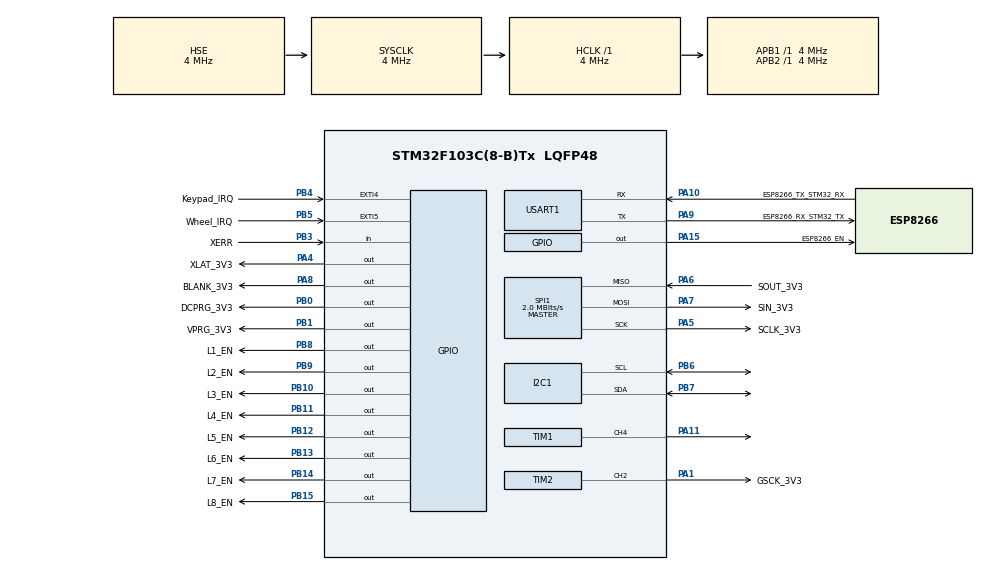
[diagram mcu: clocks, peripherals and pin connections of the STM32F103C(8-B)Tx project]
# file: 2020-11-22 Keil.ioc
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Mcu.Family=STM32F1
PA6.Mode=Full_Duplex_Master
SH.S_TIM1_CH4.0=TIM1_CH4,PWM Generation4 CH4
SPI1.VirtualType=VM_MASTER
PB4.GPIO_ModeDefaultEXTI=GPIO_MODE_IT_FALLING
PB14.GPIO_Label=L7_EN
VP_RTC_VS_RTC_Activate.Mode=RTC_Enabled
PA6.GPIO_Label=SOUT_3V3
PB0.GPIO_Label=DCPRG_3V3
TIM2.Pulse-Output\ Compare2\ CH2=1
NVIC.TIM1_UP_IRQn=true\:0\:0\:true\:false\:true\:true\:true
PB13.GPIO_Label=L6_EN
PB11.Signal=GPIO_Output
PB13.Signal=GPIO_Output
PB15.Signal=GPIO_Output
RCC.SYSCLKSource=RCC_SYSCLKSOURCE_HSE
ProjectManager.StackSize=0x800
PD1-OSC_OUT.Signal=RCC_OSC_OUT
PA15.GPIO_Label=ESP8266_EN
TIM1.Channel-PWM\ Generation4\ CH4=TIM_CHANNEL_4
SPI1.Direction=SPI_DIRECTION_2LINES
RCC.HCLKFreq_Value=4000000
RCC.APB2TimFreq_Value=4000000
PB6.Signal=I2C1_SCL
PB6.Mode=I2C
SPI1.CalculateBaudRate=2.0 MBits/s
RCC.AHBFreq_Value=4000000
RCC.HSE_VALUE=4000000
PB12.GPIO_Label=L5_EN
PB3.GPIO_PuPd=GPIO_PULLUP
PA14.Mode=Serial_Wire
PB1.GPIO_Label=VPRG_3V3
PA10.GPIO_Label=ESP8266_TX_STM32_RX
PB7.Signal=I2C1_SDA
PA8.Signal=GPIO_Output
Mcu.Package=LQFP48
PB9.Signal=GPIO_Output
TIM2.Channel-Output\ Compare2\ CH2=TIM_CHANNEL_2
TIM2.OCMode_2=TIM_OCMODE_TOGGLE
PB1.Signal=GPIO_Output
PA6.Signal=SPI1_MISO
PA10.Signal=USART1_RX
PA15.Signal=GPIO_Output
PB5.GPIO_Label=Wheel_IRQ
RCC.APB1TimFreq_Value=4000000
TIM1.Period=16383
SPI1.BaudRatePrescaler=SPI_BAUDRATEPRESCALER_2
PA4.GPIO_Label=XLAT_3V3
PB4.Signal=GPXTI4
PA5.Mode=Full_Duplex_Master
PB3.GPIO_Label=XERR
PB5.GPIO_ModeDefaultEXTI=GPIO_MODE_IT_FALLING
RCC.PLLSourceVirtual=RCC_PLLSOURCE_HSE
NVIC.EXTI4_IRQn=true\:2\:0\:true\:false\:true\:true\:true
PA7.Mode=Full_Duplex_Master
PD1-OSC_OUT.Mode=HSE-External-Oscillator
PB9.GPIO_Label=L2_EN
PA10.Mode=Asynchronous
PA9.GPIO_Label=ESP8266_RX_STM32_TX
PB11.GPIO_Label=L4_EN
PD0-OSC_IN.Signal=RCC_OSC_IN
PA13.Signal=SYS_JTMS-SWDIO
PB8.GPIO_Label=L1_EN
SH.S_TIM2_CH2.0=TIM2_CH2,Output Compare2 CH2
PA9.Mode=Asynchronous
PA8.GPIO_Label=BLANK_3V3
ProjectManager.TargetToolchain=MDK-ARM V5.27
PB10.GPIO_Label=L3_EN
PA9.Signal=USART1_TX
RCC.USBFreq_Value=8000000
PA1.Signal=S_TIM2_CH2
PB10.Signal=GPIO_Output
PD0-OSC_IN.Mode=HSE-External-Oscillator
PB14.Signal=GPIO_Output
PA5.Signal=SPI1_SCK
board=custom
TIM1.TIM_MasterOutputTrigger=TIM_TRGO_UPDATE
RCC.APB2Freq_Value=4000000
PB4.GPIO_Label=Keypad_IRQ
PB15.GPIO_Label=L8_EN
SPI1.Mode=SPI_MODE_MASTER
PA1.GPIO_Label=GSCK_3V3
TIM2.Period=1
PA13.Mode=Serial_Wire
Mcu.Name=STM32F103C(8-B)Tx
PB3.Signal=GPIO_Input
PA4.Signal=GPIO_Output
RCC.SYSCLKFreq_VALUE=4000000
PB5.Signal=GPXTI5
PA7.GPIO_Label=SIN_3V3
PA5.GPIO_Label=SCLK_3V3
USART1.VirtualMode=VM_ASYNC
PB7.Mode=I2C
PA11.Signal=S_TIM1_CH4
NVIC.EXTI9_5_IRQn=true\:2\:0\:true\:false\:true\:true\:true
PA14.Signal=SYS_JTCK-SWCLK
ProjectManager.HeapSize=0x400
NVIC.PriorityGroup=NVIC_PRIORITYGROUP_4
PB8.Signal=GPIO_Output
RCC.APB1Freq_Value=4000000
PB0.Signal=GPIO_Output
PB12.Signal=GPIO_Output
PA7.Signal=SPI1_MOSI

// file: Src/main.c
/* USER CODE BEGIN Header */
/**
  ******************************************************************************
  * @file           : main.c
  * @brief          : Main program body
  ******************************************************************************
  * @attention
  *
  * <h2><center>&copy; Copyright (c) 2020 STMicroelectronics.
  * All rights reserved.</center></h2>
  *
  * This software component is licensed by ST under BSD 3-Clause license,
  * the "License"; You may not use this file except in compliance with the
  * License. You may obtain a copy of the License at:
  *                        opensource.org/licenses/BSD-3-Clause
  *
  ******************************************************************************
  */
/* USER CODE END Header */

#include "main.h"

I2C_HandleTypeDef hi2c1;

RTC_HandleTypeDef hrtc;

SPI_HandleTypeDef hspi1;

TIM_HandleTypeDef htim1;
TIM_HandleTypeDef htim2;

UART_HandleTypeDef huart1;

void SystemClock_Config(void);
static void MX_GPIO_Init(void);
static void MX_I2C1_Init(void);
static void MX_RTC_Init(void);
static void MX_SPI1_Init(void);
static void MX_TIM1_Init(void);
static void MX_TIM2_Init(void);
static void MX_USART1_UART_Init(void);
/* USER CODE BEGIN PFP */

void previous_lyr_off(uint16_t activeLyr);
uint16_t current_lyr_on(uint16_t activeLyr);

/* USER CODE END PFP */

/* USER CODE BEGIN 0 */

bool UPDATE_FRAME = 0;

Frame_TypeDef frame0;

//lyr global variable indicates active cube layer.
//Needs to be global so timer IRQ can access value
uint8_t activeLyr = 0;

//Data Arrays & Pointers shese should probably not be global
// Data Arrays
uint16_t data16[16*NUM_TLCS];
uint8_t data8[24*NUM_TLCS];

// Data Pointers
uint16_t *data16Ptr = &data16[0];
uint8_t *data8Ptr = &data8[0];

/*
bool *mask0Ptr = &mask0[0];
bool *mask1Ptr = &mask1[0];
bool *mask2Ptr = &mask2[0];
bool *mask3Ptr = &mask3[0];
bool *mask4Ptr = &mask4[0];
bool *mask5Ptr = &mask5[0];
bool *mask6Ptr = &mask6[0];
bool *mask7Ptr = &mask7[0];
*/

// pin mapping - this should never need to be reconfigured now that all the cabling as been eliminated :^)
int redMap[64] = {178,181,160,163,166,145,148,151,189,186,175,172,169,158,155,152,130,133,112,115,118,97,100,103,141,138,127,124,121,110,107,104,82,85,64,67,70,49,52,55,93,90,79,76,73,62,59,56,34,37,16,19,22,1,4,7,45,42,31,28,25,14,11,8};
int grnMap[64] = {177,180,183,162,165,144,147,150,190,187,184,173,170,159,156,153,129,132,135,114,117,96,99,102,142,139,136,125,122,111,108,105,81,84,87,66,69,48,51,54,94,91,88,77,74,63,60,57,33,36,39,18,21,0,3,6,46,43,40,29,26,15,12,9};
int bluMap[64] = {176,179,182,161,164,167,146,149,191,188,185,174,171,168,157,154,128,131,134,113,116,119,98,101,143,140,137,126,123,120,109,106,80,83,86,65,68,71,50,53,95,92,89,78,75,72,61,58,32,35,38,17,20,23,2,5,47,44,41,30,27,24,13,10};

uint16_t currentAction = ACTION_NOP;

/* USER CODE END 0 */

int main(void)
{

  /* MCU Configuration--------------------------------------------------------*/

  /* Reset of all peripherals, Initializes the Flash interface and the Systick. */
  HAL_Init();

  /* Configure the system clock */
  SystemClock_Config();

  /* Initialize all configured peripherals */
  MX_GPIO_Init();
  MX_I2C1_Init();
  MX_RTC_Init();
  MX_SPI1_Init();
  MX_TIM1_Init();
  MX_TIM2_Init();
  MX_USART1_UART_Init();
  /* USER CODE BEGIN 2 */

	//I can't decide if I want to pass a generic menu into init function like the last 3 or not. Each init function is so specific..
	MainMenuInit();
	AnimationMenu = AnimationMenuInit(AnimationMenu);
	PinMappingMenu = PinMappingMenuInit(PinMappingMenu);
	ActiveAnimationMenu = ActiveAnimationMenuInit(ActiveAnimationMenu);

	//have to manually set these pointers
	frame0.lyr0.redArrPtr = &frame0.lyr0.redArray[0];
	frame0.lyr0.grnArrPtr = &frame0.lyr0.grnArray[0];
	frame0.lyr0.bluArrPtr = &frame0.lyr0.bluArray[0];

	// This pin referencing is slightly redundant. L8 needs to be set since it's toggled during timXocstart (158)
	HAL_GPIO_WritePin(L8_EN_GPIO_Port, L8_EN_Pin, GPIO_PIN_RESET);
	HAL_GPIO_WritePin(L7_EN_GPIO_Port, L7_EN_Pin, GPIO_PIN_RESET);
	HAL_GPIO_WritePin(L6_EN_GPIO_Port, L6_EN_Pin, GPIO_PIN_RESET);
	HAL_GPIO_WritePin(L5_EN_GPIO_Port, L5_EN_Pin, GPIO_PIN_RESET);
	HAL_GPIO_WritePin(L4_EN_GPIO_Port, L4_EN_Pin, GPIO_PIN_RESET);
	HAL_GPIO_WritePin(L3_EN_GPIO_Port, L3_EN_Pin, GPIO_PIN_RESET);
	HAL_GPIO_WritePin(L2_EN_GPIO_Port, L2_EN_Pin, GPIO_PIN_RESET);
	HAL_GPIO_WritePin(L1_EN_GPIO_Port, L1_EN_Pin, GPIO_PIN_RESET);

	HAL_TIM_OC_Start(&htim2, TIM_CHANNEL_2);	//
	HAL_TIM_Base_Start_IT(&htim1);
	HAL_TIM_OC_Start(&htim1, TIM_CHANNEL_4);	//this was working with ch1 even though thats set as a gpio!

	lcd20x4_i2c_init(&hi2c1); // I don't know why this needs to be called in main and not inside MenuSystemInit()

	HAL_GPIO_WritePin(L8_EN_GPIO_Port, L8_EN_Pin, GPIO_PIN_SET);
	HAL_SPI_Init(&hspi1);

	tlc_clear(data16Ptr);
	UPDATE_FRAME = 1;
	MenuSystemInit(hi2c1);
	MenuDisplayUpdate(MainMenu);
  /* USER CODE END 2 */

  /* Infinite loop */
  /* USER CODE BEGIN WHILE */
  while (1)
  {

		while(currentAction == ACTION_NOP)
		{
			HAL_Delay(1);
		}

		if(currentAction == ACTION_HALT_ANIMATION)
		{
			HAL_Delay(1);
		}

		if(currentAction == ACTION_PLAY_ANIMATION_7)
		{
			//MenuSetRowText(ActiveAnimationMenu.ArrayPtr, 0, " Configurable Text");
			//MenuDisplayUpdate(ActiveAnimationMenu);
			configurable_text(frame0);
			currentAction = ACTION_NOP;
		}

		if(currentAction == ACTION_PLAY_ANIMATION_6)
		{
			//MenuSetRowText(ActiveAnimationMenu.ArrayPtr, 0, " Stretchy Cube");
			//MenuDisplayUpdate(ActiveAnimationMenu);
			stretchy_cube(frame0);
			currentAction = ACTION_NOP;
		}

		if(currentAction == ACTION_PLAY_ANIMATION_5)
		{
			//MenuSetRowText(ActiveAnimationMenu.ArrayPtr, 0, " Sliding Cubes");
			//MenuDisplayUpdate(ActiveAnimationMenu);
			//sliding_cubes(frame0);
			currentAction = ACTION_NOP;
		}

		if(currentAction == ACTION_PLAY_ANIMATION_4)
		{
			//MenuSetRowText(ActiveAnimationMenu.ArrayPtr, 0, " Strobe");
			//MenuDisplayUpdate(ActiveAnimationMenu);
			strobe(frame0);
			currentAction = ACTION_NOP;
		}

		if(currentAction == ACTION_PLAY_ANIMATION_3)
		{
			//MenuSetRowText(ActiveAnimationMenu.ArrayPtr, 0, " Original Fade");
			//MenuDisplayUpdate(ActiveAnimationMenu);
			original_fade(frame0);
			currentAction = ACTION_NOP;
		}

		if(currentAction == ACTION_PLAY_ANIMATION_2)
		{
			//MenuSetRowText(ActiveAnimationMenu.ArrayPtr, 0, " Halloween");
			//MenuDisplayUpdate(ActiveAnimationMenu);
			halloween(frame0);
			currentAction = ACTION_NOP;
		}

		if(currentAction == ACTION_PLAY_ANIMATION_1)
		{
			//MenuSetRowText(ActiveAnimationMenu.ArrayPtr, 0, " Joel Mode");
			//MenuDisplayUpdate(ActiveAnimationMenu);
			joel_mode(frame0);
			currentAction = ACTION_NOP;
		}

	}
}

    /* USER CODE END WHILE */

void SystemClock_Config(void)
{
  RCC_OscInitTypeDef RCC_OscInitStruct = {0};
  RCC_ClkInitTypeDef RCC_ClkInitStruct = {0};
  RCC_PeriphCLKInitTypeDef PeriphClkInit = {0};

  /** Initializes the CPU, AHB and APB busses clocks
  */
  RCC_OscInitStruct.OscillatorType = RCC_OSCILLATORTYPE_LSI|RCC_OSCILLATORTYPE_HSE;
  RCC_OscInitStruct.HSEState = RCC_HSE_ON;
  RCC_OscInitStruct.LSIState = RCC_LSI_ON;
  RCC_OscInitStruct.PLL.PLLState = RCC_PLL_NONE;
  if (HAL_RCC_OscConfig(&RCC_OscInitStruct) != HAL_OK)
  {
    Error_Handler();
  }
  /** Initializes the CPU, AHB and APB busses clocks
  */
  RCC_ClkInitStruct.ClockType = RCC_CLOCKTYPE_HCLK|RCC_CLOCKTYPE_SYSCLK
                              |RCC_CLOCKTYPE_PCLK1|RCC_CLOCKTYPE_PCLK2;
  RCC_ClkInitStruct.SYSCLKSource = RCC_SYSCLKSOURCE_HSE;
  RCC_ClkInitStruct.AHBCLKDivider = RCC_SYSCLK_DIV1;
  RCC_ClkInitStruct.APB1CLKDivider = RCC_HCLK_DIV1;
  RCC_ClkInitStruct.APB2CLKDivider = RCC_HCLK_DIV1;

  if (HAL_RCC_ClockConfig(&RCC_ClkInitStruct, FLASH_LATENCY_0) != HAL_OK)
  {
    Error_Handler();
  }
  PeriphClkInit.PeriphClockSelection = RCC_PERIPHCLK_RTC;
  PeriphClkInit.RTCClockSelection = RCC_RTCCLKSOURCE_LSI;
  if (HAL_RCCEx_PeriphCLKConfig(&PeriphClkInit) != HAL_OK)
  {
    Error_Handler();
  }
}

static void MX_I2C1_Init(void)
{

  hi2c1.Instance = I2C1;
  hi2c1.Init.ClockSpeed = 100000;
  hi2c1.Init.DutyCycle = I2C_DUTYCYCLE_2;
  hi2c1.Init.OwnAddress1 = 0;
  hi2c1.Init.AddressingMode = I2C_ADDRESSINGMODE_7BIT;
  hi2c1.Init.DualAddressMode = I2C_DUALADDRESS_DISABLE;
  hi2c1.Init.OwnAddress2 = 0;
  hi2c1.Init.GeneralCallMode = I2C_GENERALCALL_DISABLE;
  hi2c1.Init.NoStretchMode = I2C_NOSTRETCH_DISABLE;
  if (HAL_I2C_Init(&hi2c1) != HAL_OK)
  {
    Error_Handler();
  }

}

static void MX_RTC_Init(void)
{

  /** Initialize RTC Only
  */
  hrtc.Instance = RTC;
  hrtc.Init.AsynchPrediv = RTC_AUTO_1_SECOND;
  hrtc.Init.OutPut = RTC_OUTPUTSOURCE_ALARM;
  if (HAL_RTC_Init(&hrtc) != HAL_OK)
  {
    Error_Handler();
  }

}

static void MX_SPI1_Init(void)
{

  /* SPI1 parameter configuration*/
  hspi1.Instance = SPI1;
  hspi1.Init.Mode = SPI_MODE_MASTER;
  hspi1.Init.Direction = SPI_DIRECTION_2LINES;
  hspi1.Init.DataSize = SPI_DATASIZE_8BIT;
  hspi1.Init.CLKPolarity = SPI_POLARITY_LOW;
  hspi1.Init.CLKPhase = SPI_PHASE_1EDGE;
  hspi1.Init.NSS = SPI_NSS_SOFT;
  hspi1.Init.BaudRatePrescaler = SPI_BAUDRATEPRESCALER_2;
  hspi1.Init.FirstBit = SPI_FIRSTBIT_MSB;
  hspi1.Init.TIMode = SPI_TIMODE_DISABLE;
  hspi1.Init.CRCCalculation = SPI_CRCCALCULATION_DISABLE;
  hspi1.Init.CRCPolynomial = 10;
  if (HAL_SPI_Init(&hspi1) != HAL_OK)
  {
    Error_Handler();
  }

}

static void MX_TIM1_Init(void)
{

  TIM_MasterConfigTypeDef sMasterConfig = {0};
  TIM_OC_InitTypeDef sConfigOC = {0};
  TIM_BreakDeadTimeConfigTypeDef sBreakDeadTimeConfig = {0};

  htim1.Instance = TIM1;
  htim1.Init.Prescaler = 0;
  htim1.Init.CounterMode = TIM_COUNTERMODE_UP;
  htim1.Init.Period = 16383;
  htim1.Init.ClockDivision = TIM_CLOCKDIVISION_DIV1;
  htim1.Init.RepetitionCounter = 0;
  htim1.Init.AutoReloadPreload = TIM_AUTORELOAD_PRELOAD_DISABLE;
  if (HAL_TIM_PWM_Init(&htim1) != HAL_OK)
  {
    Error_Handler();
  }
  sMasterConfig.MasterOutputTrigger = TIM_TRGO_UPDATE;
  sMasterConfig.MasterSlaveMode = TIM_MASTERSLAVEMODE_DISABLE;
  if (HAL_TIMEx_MasterConfigSynchronization(&htim1, &sMasterConfig) != HAL_OK)
  {
    Error_Handler();
  }
  sConfigOC.OCMode = TIM_OCMODE_PWM1;
  sConfigOC.Pulse = 0;
  sConfigOC.OCPolarity = TIM_OCPOLARITY_HIGH;
  sConfigOC.OCFastMode = TIM_OCFAST_DISABLE;
  sConfigOC.OCIdleState = TIM_OCIDLESTATE_RESET;
  sConfigOC.OCNIdleState = TIM_OCNIDLESTATE_RESET;
  if (HAL_TIM_PWM_ConfigChannel(&htim1, &sConfigOC, TIM_CHANNEL_4) != HAL_OK)
  {
    Error_Handler();
  }
  sBreakDeadTimeConfig.OffStateRunMode = TIM_OSSR_DISABLE;
  sBreakDeadTimeConfig.OffStateIDLEMode = TIM_OSSI_DISABLE;
  sBreakDeadTimeConfig.LockLevel = TIM_LOCKLEVEL_OFF;
  sBreakDeadTimeConfig.DeadTime = 0;
  sBreakDeadTimeConfig.BreakState = TIM_BREAK_DISABLE;
  sBreakDeadTimeConfig.BreakPolarity = TIM_BREAKPOLARITY_HIGH;
  sBreakDeadTimeConfig.AutomaticOutput = TIM_AUTOMATICOUTPUT_DISABLE;
  if (HAL_TIMEx_ConfigBreakDeadTime(&htim1, &sBreakDeadTimeConfig) != HAL_OK)
  {
    Error_Handler();
  }
  /* USER CODE BEGIN TIM1_Init 2 */
	sConfigOC.OCMode = TIM_OCMODE_PWM2;
  /* USER CODE END TIM1_Init 2 */
  HAL_TIM_MspPostInit(&htim1);

}

static void MX_TIM2_Init(void)
{

  TIM_MasterConfigTypeDef sMasterConfig = {0};
  TIM_OC_InitTypeDef sConfigOC = {0};

  htim2.Instance = TIM2;
  htim2.Init.Prescaler = 0;
  htim2.Init.CounterMode = TIM_COUNTERMODE_UP;
  htim2.Init.Period = 1;
  htim2.Init.ClockDivision = TIM_CLOCKDIVISION_DIV1;
  htim2.Init.AutoReloadPreload = TIM_AUTORELOAD_PRELOAD_DISABLE;
  if (HAL_TIM_OC_Init(&htim2) != HAL_OK)
  {
    Error_Handler();
  }
  sMasterConfig.MasterOutputTrigger = TIM_TRGO_RESET;
  sMasterConfig.MasterSlaveMode = TIM_MASTERSLAVEMODE_DISABLE;
  if (HAL_TIMEx_MasterConfigSynchronization(&htim2, &sMasterConfig) != HAL_OK)
  {
    Error_Handler();
  }
  sConfigOC.OCMode = TIM_OCMODE_TOGGLE;
  sConfigOC.Pulse = 1;
  sConfigOC.OCPolarity = TIM_OCPOLARITY_HIGH;
  sConfigOC.OCFastMode = TIM_OCFAST_DISABLE;
  if (HAL_TIM_OC_ConfigChannel(&htim2, &sConfigOC, TIM_CHANNEL_2) != HAL_OK)
  {
    Error_Handler();
  }
  /* USER CODE BEGIN TIM2_Init 2 */
	sConfigOC.Pulse = 1;
  /* USER CODE END TIM2_Init 2 */
  HAL_TIM_MspPostInit(&htim2);

}

static void MX_USART1_UART_Init(void)
{

  huart1.Instance = USART1;
  huart1.Init.BaudRate = 115200;
  huart1.Init.WordLength = UART_WORDLENGTH_8B;
  huart1.Init.StopBits = UART_STOPBITS_1;
  huart1.Init.Parity = UART_PARITY_NONE;
  huart1.Init.Mode = UART_MODE_TX_RX;
  huart1.Init.HwFlowCtl = UART_HWCONTROL_NONE;
  huart1.Init.OverSampling = UART_OVERSAMPLING_16;
  if (HAL_UART_Init(&huart1) != HAL_OK)
  {
    Error_Handler();
  }

}

static void MX_GPIO_Init(void)
{
  GPIO_InitTypeDef GPIO_InitStruct = {0};

  /* GPIO Ports Clock Enable */
  __HAL_RCC_GPIOD_CLK_ENABLE();
  __HAL_RCC_GPIOA_CLK_ENABLE();
  __HAL_RCC_GPIOB_CLK_ENABLE();

  /*Configure GPIO pin Output Level */
  HAL_GPIO_WritePin(GPIOA, XLAT_3V3_Pin|BLANK_3V3_Pin|ESP8266_EN_Pin, GPIO_PIN_RESET);

  /*Configure GPIO pin Output Level */
  HAL_GPIO_WritePin(GPIOB, DCPRG_3V3_Pin|VPRG_3V3_Pin|L3_EN_Pin|L4_EN_Pin
                          |L5_EN_Pin|L6_EN_Pin|L7_EN_Pin|L8_EN_Pin
                          |L1_EN_Pin|L2_EN_Pin, GPIO_PIN_RESET);

  /*Configure GPIO pins : XLAT_3V3_Pin BLANK_3V3_Pin ESP8266_EN_Pin */
  GPIO_InitStruct.Pin = XLAT_3V3_Pin|BLANK_3V3_Pin|ESP8266_EN_Pin;
  GPIO_InitStruct.Mode = GPIO_MODE_OUTPUT_PP;
  GPIO_InitStruct.Pull = GPIO_NOPULL;
  GPIO_InitStruct.Speed = GPIO_SPEED_FREQ_LOW;
  HAL_GPIO_Init(GPIOA, &GPIO_InitStruct);

  /*Configure GPIO pins : DCPRG_3V3_Pin VPRG_3V3_Pin L3_EN_Pin L4_EN_Pin
                           L5_EN_Pin L6_EN_Pin L7_EN_Pin L8_EN_Pin
                           L1_EN_Pin L2_EN_Pin */
  GPIO_InitStruct.Pin = DCPRG_3V3_Pin|VPRG_3V3_Pin|L3_EN_Pin|L4_EN_Pin
                          |L5_EN_Pin|L6_EN_Pin|L7_EN_Pin|L8_EN_Pin
                          |L1_EN_Pin|L2_EN_Pin;
  GPIO_InitStruct.Mode = GPIO_MODE_OUTPUT_PP;
  GPIO_InitStruct.Pull = GPIO_NOPULL;
  GPIO_InitStruct.Speed = GPIO_SPEED_FREQ_LOW;
  HAL_GPIO_Init(GPIOB, &GPIO_InitStruct);

  /*Configure GPIO pin : XERR_Pin */
  GPIO_InitStruct.Pin = XERR_Pin;
  GPIO_InitStruct.Mode = GPIO_MODE_INPUT;
  GPIO_InitStruct.Pull = GPIO_PULLUP;
  HAL_GPIO_Init(XERR_GPIO_Port, &GPIO_InitStruct);

  /*Configure GPIO pins : Keypad_IRQ_Pin Wheel_IRQ_Pin */
  GPIO_InitStruct.Pin = Keypad_IRQ_Pin|Wheel_IRQ_Pin;
  GPIO_InitStruct.Mode = GPIO_MODE_IT_FALLING;
  GPIO_InitStruct.Pull = GPIO_NOPULL;
  HAL_GPIO_Init(GPIOB, &GPIO_InitStruct);

  /* EXTI interrupt init*/
  HAL_NVIC_SetPriority(EXTI4_IRQn, 2, 0);
  HAL_NVIC_EnableIRQ(EXTI4_IRQn);

  HAL_NVIC_SetPriority(EXTI9_5_IRQn, 2, 0);
  HAL_NVIC_EnableIRQ(EXTI9_5_IRQn);

}

/* USER CODE BEGIN 4 */
void HAL_GPIO_EXTI_Callback(uint16_t GPIO_Pin)
{
	currentAction = Menu_Read_MPR121(hi2c1, GPIO_Pin, currentAction);
	if (currentAction == ACTION_HALT_ANIMATION) HALT_ANIMATION = true;
	if (currentAction == ACTION_PAUSE_ANIMATION)
	{
		if (PAUSE_ANIMATION == true) PAUSE_ANIMATION = false;
		else PAUSE_ANIMATION = true;
	}
}

void HAL_TIM_PeriodElapsedCallback(TIM_HandleTypeDef *htim)
{
	rngCount++;

	if(UPDATE_FRAME==0)
	{
		previous_lyr_off(activeLyr);
		HAL_GPIO_WritePin(BLANK_3V3_GPIO_Port, BLANK_3V3_Pin, GPIO_PIN_SET);
		for(uint16_t dummyVar =1;dummyVar<15;dummyVar++); // short delay (approx 3us)
		HAL_GPIO_WritePin(BLANK_3V3_GPIO_Port, BLANK_3V3_Pin, GPIO_PIN_RESET);
		activeLyr =  current_lyr_on(activeLyr);
		return;
	}

	if(UPDATE_FRAME==1)
	{
		previous_lyr_off(activeLyr);
		lyr_frame_convert(frame0.lyr0,data16Ptr);
		tlc_spi_convert(data16Ptr, data8Ptr);
		HAL_SPI_Transmit(&hspi1, data8Ptr, 24*NUM_TLCS, 10);
		HAL_GPIO_WritePin(BLANK_3V3_GPIO_Port, BLANK_3V3_Pin, GPIO_PIN_SET);
		HAL_GPIO_WritePin(XLAT_3V3_GPIO_Port, XLAT_3V3_Pin, GPIO_PIN_SET);
		for(uint16_t dummyVar =1;dummyVar<15;dummyVar++); // short delay (approx 3us)
		HAL_GPIO_WritePin(XLAT_3V3_GPIO_Port, XLAT_3V3_Pin, GPIO_PIN_RESET);
		HAL_GPIO_WritePin(BLANK_3V3_GPIO_Port, BLANK_3V3_Pin, GPIO_PIN_RESET);
		UPDATE_FRAME=0;
		activeLyr =  current_lyr_on(activeLyr);
		return;
	}
}

void previous_lyr_off(uint16_t activeLyr)
{
	if(activeLyr == 0) HAL_GPIO_TogglePin(L8_EN_GPIO_Port, L8_EN_Pin);
	if(activeLyr == 1) HAL_GPIO_TogglePin(L1_EN_GPIO_Port, L1_EN_Pin);
	if(activeLyr == 2) HAL_GPIO_TogglePin(L2_EN_GPIO_Port, L2_EN_Pin);
	if(activeLyr == 3) HAL_GPIO_TogglePin(L3_EN_GPIO_Port, L3_EN_Pin);
	if(activeLyr == 4) HAL_GPIO_TogglePin(L4_EN_GPIO_Port, L4_EN_Pin);
	if(activeLyr == 5) HAL_GPIO_TogglePin(L5_EN_GPIO_Port, L5_EN_Pin);
	if(activeLyr == 6) HAL_GPIO_TogglePin(L6_EN_GPIO_Port, L6_EN_Pin);
	if(activeLyr == 7) HAL_GPIO_TogglePin(L7_EN_GPIO_Port, L7_EN_Pin);
}

uint16_t current_lyr_on(uint16_t activeLyr)
{
	if(activeLyr == 0) HAL_GPIO_TogglePin(L1_EN_GPIO_Port, L1_EN_Pin);
	if(activeLyr == 1) HAL_GPIO_TogglePin(L2_EN_GPIO_Port, L2_EN_Pin);
	if(activeLyr == 2) HAL_GPIO_TogglePin(L3_EN_GPIO_Port, L3_EN_Pin);
	if(activeLyr == 3) HAL_GPIO_TogglePin(L4_EN_GPIO_Port, L4_EN_Pin);
	if(activeLyr == 4) HAL_GPIO_TogglePin(L5_EN_GPIO_Port, L5_EN_Pin);
	if(activeLyr == 5) HAL_GPIO_TogglePin(L6_EN_GPIO_Port, L6_EN_Pin);
	if(activeLyr == 6) HAL_GPIO_TogglePin(L7_EN_GPIO_Port, L7_EN_Pin);
	if(activeLyr == 7) HAL_GPIO_TogglePin(L8_EN_GPIO_Port, L8_EN_Pin);
	activeLyr++;
	if(activeLyr==8) activeLyr = 0;
	return activeLyr;
}

/* USER CODE END 4 */

void Error_Handler(void)
{
	while(1)
	{
	}
}

/************************ (C) COPYRIGHT STMicroelectronics *****END OF FILE****/
